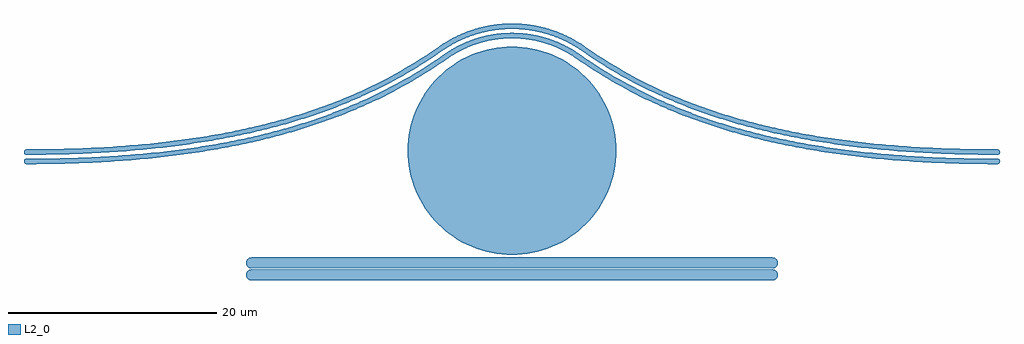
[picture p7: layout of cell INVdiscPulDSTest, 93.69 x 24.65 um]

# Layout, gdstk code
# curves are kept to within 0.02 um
import gdstk
lib = gdstk.Library(unit=1e-6, precision=1e-09)
def P(c, l, *ps):  # polygons
    for p in ps: c.add(gdstk.Polygon(p, *l))
L2_0 = (2, 0)

invdiscpuldstest = lib.new_cell('INVdiscPulDSTest')
P(invdiscpuldstest, L2_0, [(10,10),(9.02,10.048),(8.049,10.192),(7.097,10.431),(6.173,10.761),(5.286,11.181),(4.444,11.685),(3.656,12.27),(2.929,12.929),(2.27,13.656),(1.685,14.444),(1.181,15.286),(0.761,16.173),(0.431,17.097),(0.192,18.049),(0.048,19.02),(0,20),(0.048,20.98),(0.192,21.951),(0.431,22.903),(0.761,23.827),(1.181,24.714),(1.685,25.556),(2.27,26.344),(2.929,27.071),(3.656,27.73),(4.444,28.315),(5.286,28.819),(6.173,29.239),(7.097,29.569),(8.049,29.808),(9.02,29.952),(10,30),(10.98,29.952),(11.951,29.808),(12.903,29.569),(13.827,29.239),(14.714,28.819),(15.556,28.315),(16.344,27.73),(17.071,27.071),(17.73,26.344),(18.315,25.556),(18.819,24.714),(19.239,23.827),(19.569,22.903),(19.808,21.951),(19.952,20.98),(20,20),(19.952,19.02),(19.808,18.049),(19.569,17.097),(19.239,16.173),(18.819,15.286),(18.315,14.444),(17.73,13.656),(17.071,12.929),(16.344,12.27),(15.556,11.685),(14.714,11.181),(13.827,10.761),(12.903,10.431),(11.951,10.192),(10.98,10.048)],
  [(-36.596,18.72),(-36.596,19.22),(-32.495,19.28),(-28.632,19.457),(-24.998,19.746),(-21.58,20.142),(-19.065,20.521),(-16.669,20.96),(-14.388,21.457),(-12.215,22.009),(-9.858,22.705),(-7.629,23.467),(-5.52,24.292),(-3.522,25.177),(-1.629,26.118),(-0.273,26.859),(1.875,28.155),(4.275,29.743),(4.94,30.104),(5.678,30.441),(6.644,30.79),(7.691,31.062),(8.759,31.232),(9.946,31.3),(11.134,31.243),(12.15,31.094),(13.252,30.822),(14.322,30.441),(15.06,30.104),(15.725,29.743),(18.125,28.155),(20.273,26.859),(22.093,25.878),(24.011,24.951),(26.036,24.08),(28.45,23.174),(30.726,22.436),(33.133,21.766),(35.678,21.166),(38.369,20.64),(41.214,20.192),(43.835,19.866),(46.989,19.572),(49.894,19.385),(52.938,19.268),(56.596,19.22),(56.596,18.72),(53.82,18.747),(51.152,18.827),(48.589,18.959),(46.127,19.141),(42.617,19.504),(39.317,19.973),(36.215,20.542),(33.301,21.207),(30.564,21.963),(28.27,22.707),(25.836,23.622),(23.794,24.5),(21.859,25.436),(20.022,26.426),(17.853,27.735),(15.605,29.232),(14.882,29.634),(14.083,29.999),(13.059,30.358),(12.055,30.603),(11.032,30.751),(9.897,30.8),(8.814,30.735),(7.844,30.583),(6.842,30.328),(5.917,29.999),(5.118,29.634),(4.395,29.232),(2.147,27.735),(-0.022,26.426),(-1.859,25.436),(-3.794,24.5),(-5.836,23.622),(-8.27,22.707),(-10.564,21.963),(-12.989,21.287),(-15.552,20.682),(-18.262,20.152),(-20.758,19.752),(-23.763,19.371),(-26.937,19.074),(-30.286,18.865),(-33.368,18.757)],
  [(-36.596,19.62),(-36.596,20.12),(-32.531,20.179),(-28.705,20.354),(-25.107,20.639),(-21.726,21.03),(-19.239,21.404),(-17.203,21.771),(-14.933,22.253),(-12.473,22.871),(-10.431,23.467),(-8.218,24.21),(-5.872,25.12),(-3.905,25.992),(-2.498,26.681),(-0.708,27.647),(1.404,28.922),(3.819,30.519),(4.642,30.961),(5.388,31.295),(6.489,31.684),(7.621,31.966),(8.892,32.15),(9.942,32.2),(11.108,32.15),(12.379,31.966),(13.511,31.684),(14.612,31.295),(15.358,30.961),(16.181,30.519),(18.596,28.922),(20.708,27.647),(22.498,26.681),(24.387,25.768),(26.38,24.912),(28.76,24.019),(31.004,23.292),(33.379,22.631),(35.892,22.04),(38.551,21.521),(41.363,21.079),(43.957,20.758),(47.079,20.467),(49.955,20.283),(53.413,20.156),(56.596,20.12),(56.596,19.62),(53.845,19.647),(51.634,19.709),(49.078,19.831),(46.624,20.002),(43.127,20.349),(39.84,20.8),(36.753,21.351),(33.855,21.996),(31.135,22.731),(28.856,23.457),(26.44,24.349),(24.17,25.318),(22.265,26.239),(20.458,27.214),(18.325,28.502),(15.976,30.059),(15.189,30.487),(14.423,30.832),(13.26,31.237),(12.171,31.497),(11.062,31.652),(9.944,31.7),(8.938,31.652),(7.829,31.497),(6.74,31.237),(5.577,30.832),(4.811,30.487),(4.024,30.059),(1.675,28.502),(-0.458,27.214),(-2.265,26.239),(-4.17,25.318),(-6.44,24.349),(-8.58,23.552),(-11.135,22.731),(-13.236,22.152),(-15.767,21.556),(-18.444,21.033),(-21.275,20.587),(-24.268,20.221),(-27.026,19.97),(-29.919,19.784),(-33.396,19.656)],
  [(56.596,19.62),(56.596,20.12),(56.693,20.101),(56.773,20.047),(56.826,19.968),(56.846,19.87),(56.826,19.773),(56.773,19.693),(56.693,19.64)],
  [(-36.596,19.62),(-36.693,19.64),(-36.773,19.693),(-36.826,19.773),(-36.846,19.87),(-36.826,19.968),(-36.773,20.047),(-36.693,20.101),(-36.596,20.12)],
  [(56.596,18.72),(56.596,19.22),(56.693,19.201),(56.773,19.147),(56.826,19.068),(56.846,18.97),(56.826,18.873),(56.773,18.793),(56.693,18.74)],
  [(-36.596,18.72),(-36.693,18.74),(-36.773,18.793),(-36.826,18.873),(-36.846,18.97),(-36.826,19.068),(-36.773,19.147),(-36.693,19.201),(-36.596,19.22)],
  [(-15,7.55),(-15.204,7.591),(-15.371,7.704),(-15.484,7.871),(-15.525,8.075),(-15.484,8.279),(-15.371,8.446),(-15.204,8.559),(-15,8.6),(35,8.6),(35.204,8.559),(35.371,8.446),(35.484,8.279),(35.525,8.075),(35.484,7.871),(35.371,7.704),(35.204,7.591),(35,7.55)],
  [(-15,8.7),(-15.204,8.741),(-15.371,8.854),(-15.484,9.021),(-15.525,9.225),(-15.484,9.429),(-15.371,9.596),(-15.204,9.709),(-15,9.75),(35,9.75),(35.204,9.709),(35.371,9.596),(35.484,9.429),(35.525,9.225),(35.484,9.021),(35.371,8.854),(35.204,8.741),(35,8.7)])

lib.write_gds('INVdiscPulDSTest.gds')
